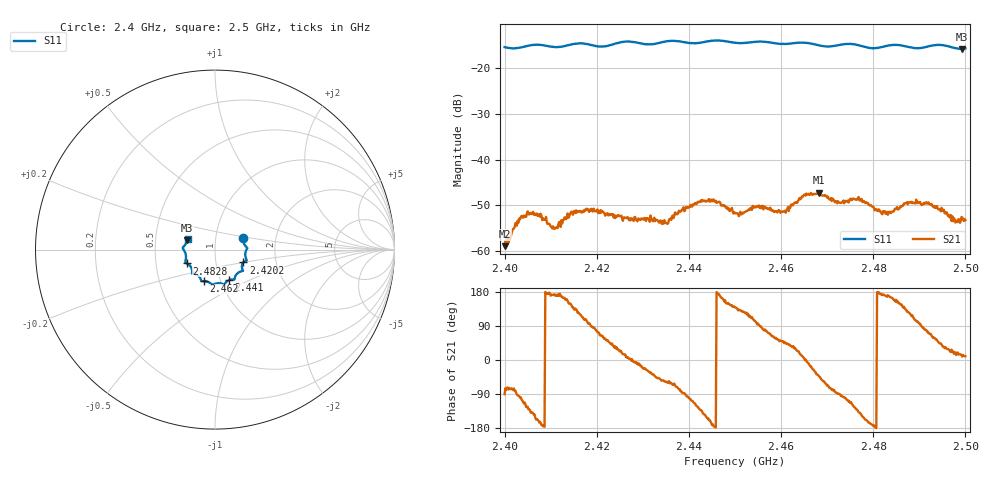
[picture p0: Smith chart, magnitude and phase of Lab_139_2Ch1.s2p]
# Hz S RI R 50
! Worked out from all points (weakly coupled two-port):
!   601 points, 2.4 GHz to 2.5 GHz, reference 50 ohm
!   highest |S21| = -47.26 dB at 2.4682 GHz (marker M1); lowest = -58.9 dB at 2.4 GHz (marker M2)
!   lowest |S11| = -15.8 dB at 2.4993 GHz (marker M3), VSWR 1.39, Z = 36.5 + j3.9 ohm
!   |S11| at or under -10 dB: start of sweep to end of sweep
!   S12 and S22 are empty: the file has one direction only
!   S11 on the Smith chart (normalised r, x): 2.4 GHz: 1.36, +0.17; 2.4202 GHz: 1.36, -0.20; 2.441 GHz: 1.10, -0.39; 2.462 GHz: 0.84, -0.30; 2.4828 GHz: 0.72, -0.11; 2.5 GHz: 0.73, +0.09
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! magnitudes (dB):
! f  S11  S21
! 2.4 GHz  -15.4  -58.9
! 2.4033 GHz  -15.5  -53.1
! 2.4053 GHz  -15.0  -52.0
! 2.4108 GHz  -15.4  -55.2
! 2.4167 GHz  -14.6  -51.6
! 2.4202 GHz  -15.2  -50.9
! 2.4333 GHz  -14.5  -53.5
! 2.435 GHz  -14.1  -53.8
! 2.441 GHz  -14.6  -50.0
! 2.4453 GHz  -14.0  -48.7
! 2.45 GHz  -14.4  -51.8
! 2.462 GHz  -14.6  -50.5
! 2.4667 GHz  -14.6  -47.6
! 2.4682 GHz  -15.0  -47.3
! 2.4727 GHz  -14.9  -49.4
! 2.477 GHz  -15.0  -48.9
! 2.4828 GHz  -15.1  -51.8
! 2.4833 GHz  -15.0  -51.6
! 2.4872 GHz  -15.2  -49.5
! 2.4915 GHz  -15.3  -49.3
! 2.4993 GHz  -15.8  -52.7
! 2.5 GHz  -15.7  -53.2
